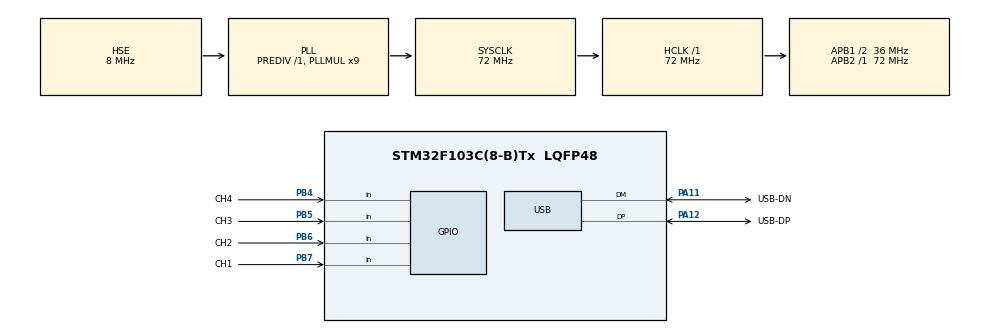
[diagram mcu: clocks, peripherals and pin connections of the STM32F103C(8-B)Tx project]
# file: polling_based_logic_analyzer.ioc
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Mcu.Family=STM32F1
Mcu.Name=STM32F103C(8-B)Tx
Mcu.Package=LQFP48
NVIC.PriorityGroup=NVIC_PRIORITYGROUP_4
NVIC.USB_LP_CAN1_RX0_IRQn=true\:0\:0\:false\:false\:true\:false\:true\:true
PA11.GPIO_Label=USB-DN
PA11.Mode=Device
PA11.Signal=USB_DM
PA12.GPIO_Label=USB-DP
PA12.Mode=Device
PA12.Signal=USB_DP
PB4.GPIO_Label=CH4
PB4.Signal=GPIO_Input
PB5.GPIO_Label=CH3
PB5.Signal=GPIO_Input
PB6.GPIO_Label=CH2
PB6.Signal=GPIO_Input
PB7.GPIO_Label=CH1
PB7.Signal=GPIO_Input
PD0-OSC_IN.GPIO_Label=HSE_IN
PD0-OSC_IN.Mode=HSE-External-Oscillator
PD0-OSC_IN.Signal=RCC_OSC_IN
PD1-OSC_OUT.GPIO_Label=HSE_OUT
PD1-OSC_OUT.Mode=HSE-External-Oscillator
PD1-OSC_OUT.Signal=RCC_OSC_OUT
ProjectManager.HeapSize=0x200
ProjectManager.StackSize=0x400
ProjectManager.TargetToolchain=STM32CubeIDE
RCC.AHBFreq_Value=72000000
RCC.APB1CLKDivider=RCC_HCLK_DIV2
RCC.APB1Freq_Value=36000000
RCC.APB1TimFreq_Value=72000000
RCC.APB2Freq_Value=72000000
RCC.APB2TimFreq_Value=72000000
RCC.HCLKFreq_Value=72000000
RCC.PLLMUL=RCC_PLL_MUL9
RCC.SYSCLKFreq_VALUE=72000000
RCC.SYSCLKSource=RCC_SYSCLKSOURCE_PLLCLK
RCC.USBFreq_Value=48000000
RCC.USBPrescaler=RCC_USBCLKSOURCE_PLL_DIV1_5
USB_DEVICE.CLASS_NAME_FS=CDC
USB_DEVICE.VirtualMode=Cdc
USB_DEVICE.VirtualModeFS=Cdc_FS
VP_SYS_VS_ND.Mode=No_Debug
VP_USB_DEVICE_VS_USB_DEVICE_CDC_FS.Mode=CDC_FS
board=custom

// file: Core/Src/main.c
/* USER CODE BEGIN Header */
/**
  ******************************************************************************
  * @file           : main.c
  * @brief          : Main program body
  ******************************************************************************
  * @attention
  *
  * Copyright (c) 2025 STMicroelectronics.
  * All rights reserved.
  *
  * This software is licensed under terms that can be found in the LICENSE file
  * in the root directory of this software component.
  * If no LICENSE file comes with this software, it is provided AS-IS.
  *
  ******************************************************************************
  */
/* USER CODE END Header */
#include "main.h"
#include "usb_device.h"

/* USER CODE BEGIN Includes */
#include "usbd_cdc_if.h"
/* USER CODE END Includes */

/* USER CODE BEGIN PTD */
typedef struct {
    uint32_t timestamp;
    uint8_t value;  // 4 bits: PB4–PB7
} __attribute__((__packed__)) Sample;

/* USER CODE END PTD */

/* USER CODE BEGIN PD */
#define SAMPLE_COUNT 1350  // Number of samples per buffer
#define BUFFER_SIZE  (SAMPLE_COUNT)
/* USER CODE END PD */

void SystemClock_Config(void);
static void MX_GPIO_Init(void);

/* USER CODE BEGIN 0 */
Sample bufferA[BUFFER_SIZE];
Sample bufferB[BUFFER_SIZE];
volatile uint8_t usingBufferA = 1;

void DWT_Init(void) {
    CoreDebug->DEMCR |= CoreDebug_DEMCR_TRCENA_Msk;
    DWT->CYCCNT = 0;
    DWT->CTRL |= DWT_CTRL_CYCCNTENA_Msk;
}

void send_buffer(Sample *buffer) {
    while (CDC_Transmit_FS((uint8_t*)buffer, sizeof(Sample) * BUFFER_SIZE) == USBD_BUSY);
}
/* USER CODE END 0 */

int main(void)
{

  /* MCU Configuration--------------------------------------------------------*/

  /* Reset of all peripherals, Initializes the Flash interface and the Systick. */
  HAL_Init();

  /* Configure the system clock */
  SystemClock_Config();

  /* Initialize all configured peripherals */
  MX_GPIO_Init();
  MX_USB_DEVICE_Init();
  /* USER CODE BEGIN 2 */
  DWT_Init();
  /* USER CODE END 2 */

  /* Infinite loop */
  /* USER CODE BEGIN WHILE */
  while (1)
  {
      Sample* current = usingBufferA ? bufferA : bufferB;

      for (int i = 0; i < SAMPLE_COUNT; i++) {
          current[i].timestamp = DWT->CYCCNT;
          current[i].value = (GPIOB->IDR >> 4) & 0x0F;
      }

      // Start USB transmit (non-blocking)
      send_buffer(current);

      // Switch buffers
      usingBufferA ^= 1;

    /* USER CODE END WHILE */

  }
}

void SystemClock_Config(void)
{
  RCC_OscInitTypeDef RCC_OscInitStruct = {0};
  RCC_ClkInitTypeDef RCC_ClkInitStruct = {0};
  RCC_PeriphCLKInitTypeDef PeriphClkInit = {0};

  /** Initializes the RCC Oscillators according to the specified parameters
  * in the RCC_OscInitTypeDef structure.
  */
  RCC_OscInitStruct.OscillatorType = RCC_OSCILLATORTYPE_HSE;
  RCC_OscInitStruct.HSEState = RCC_HSE_ON;
  RCC_OscInitStruct.HSEPredivValue = RCC_HSE_PREDIV_DIV1;
  RCC_OscInitStruct.HSIState = RCC_HSI_ON;
  RCC_OscInitStruct.PLL.PLLState = RCC_PLL_ON;
  RCC_OscInitStruct.PLL.PLLSource = RCC_PLLSOURCE_HSE;
  RCC_OscInitStruct.PLL.PLLMUL = RCC_PLL_MUL9;
  if (HAL_RCC_OscConfig(&RCC_OscInitStruct) != HAL_OK)
  {
    Error_Handler();
  }

  /** Initializes the CPU, AHB and APB buses clocks
  */
  RCC_ClkInitStruct.ClockType = RCC_CLOCKTYPE_HCLK|RCC_CLOCKTYPE_SYSCLK
                              |RCC_CLOCKTYPE_PCLK1|RCC_CLOCKTYPE_PCLK2;
  RCC_ClkInitStruct.SYSCLKSource = RCC_SYSCLKSOURCE_PLLCLK;
  RCC_ClkInitStruct.AHBCLKDivider = RCC_SYSCLK_DIV1;
  RCC_ClkInitStruct.APB1CLKDivider = RCC_HCLK_DIV2;
  RCC_ClkInitStruct.APB2CLKDivider = RCC_HCLK_DIV1;

  if (HAL_RCC_ClockConfig(&RCC_ClkInitStruct, FLASH_LATENCY_2) != HAL_OK)
  {
    Error_Handler();
  }
  PeriphClkInit.PeriphClockSelection = RCC_PERIPHCLK_USB;
  PeriphClkInit.UsbClockSelection = RCC_USBCLKSOURCE_PLL_DIV1_5;
  if (HAL_RCCEx_PeriphCLKConfig(&PeriphClkInit) != HAL_OK)
  {
    Error_Handler();
  }
}

static void MX_GPIO_Init(void)
{
  GPIO_InitTypeDef GPIO_InitStruct = {0};

  /* GPIO Ports Clock Enable */
  __HAL_RCC_GPIOD_CLK_ENABLE();
  __HAL_RCC_GPIOA_CLK_ENABLE();
  __HAL_RCC_GPIOB_CLK_ENABLE();

  /*Configure GPIO pins : CH4_Pin CH3_Pin CH2_Pin CH1_Pin */
  GPIO_InitStruct.Pin = CH4_Pin|CH3_Pin|CH2_Pin|CH1_Pin;
  GPIO_InitStruct.Mode = GPIO_MODE_INPUT;
  GPIO_InitStruct.Pull = GPIO_NOPULL;
  HAL_GPIO_Init(GPIOB, &GPIO_InitStruct);

}

void Error_Handler(void)
{
  __disable_irq();
  while (1)
  {
  }
}
